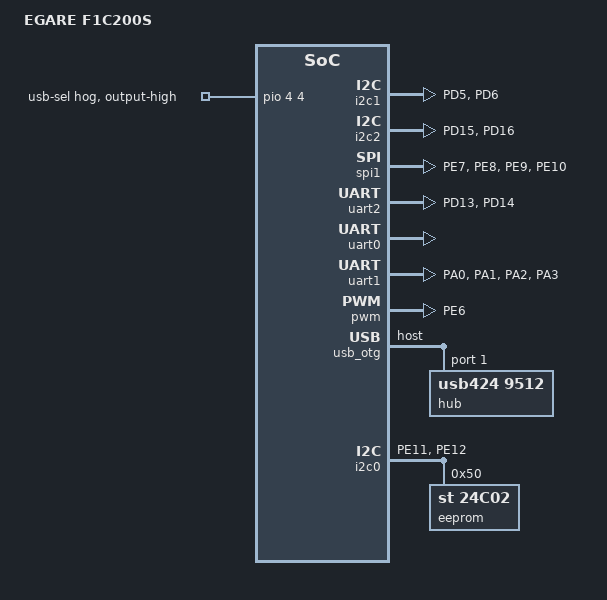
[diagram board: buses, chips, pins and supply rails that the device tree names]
// SPDX-License-Identifier: GPL-2.0-or-later
// Copyright (C) 2026 Corley S.r.l.
//
// EGARE F1C200S: la Lctech Pi F1C200s piu' le differenze della board.
// Tutto il resto (uart1, SPI NAND su spi0, mmc0, USB OTG) viene dal DTS
// Lctech incluso qui sotto: le due board devono restare confrontabili.
// La console invece e' su uart0 (PE0/PE1), non su uart1: vedi aliases.
//
// EEPROM ST M24C02-FMN su i2c0: SCK su PE11 (pin 38 del QFN88), SDA su
// PE12 (pin 37), E0-E2 a GND -> 0x50. Verificata il 2026-11-27 con un DTB
// di prova: i2cdump legge 256 byte, i2cset/i2cget scrivono e rileggono.

/dts-v1/;
#include "suniv-f1c200s-lctech-pi.dts"

/ {
	model = "EGARE F1C200S";

	/*
	 * La console e' la UART0 del connettore SODIMM (pin 205/207), come
	 * vuole la specifica del pinout: sulla SoM sono uart0 su PE0/PE1. Il
	 * DTS Lctech mette serial0 = &uart1 (PA2/PA3), che qui e' la UART1 del
	 * connettore (pin 180/182, la porta RS-485). Alias = numero del
	 * connettore: ttyS0 console, ttyS1 UART1. stdout-path "serial0" viene
	 * dal DTS Lctech e segue l'alias.
	 */
	aliases {
		serial0 = &uart0;
		serial1 = &uart1;
		serial2 = &uart2;
		/*
		 * Numeri di bus fissi. spi0 e' la SPI NAND, e i bootargs NAND la
		 * chiamano "mtdparts=spi0.0": senza alias, con spi1 attivo il numero
		 * dipenderebbe dall'ordine di probe. spi1 e' la SPI0 del connettore.
		 */
		spi0 = &spi0;
		spi1 = &spi1;
		i2c0 = &i2c0;
		i2c1 = &i2c1;
		i2c2 = &i2c2;
		/* ETH0 del connettore: il MAC viene dall'EEPROM (cella mac_eth0) */
		ethernet0 = &ethernet;
	};
};

/*
 * I2C1 del connettore (pin 170/172, per la specifica il touch del pannello):
 * i2c1 su PD5 (SCK) / PD6 (SDA). Pull-up 4k7 sulla SoM (R26, R17).
 */
&i2c1 {
	pinctrl-names = "default";
	pinctrl-0 = <&i2c1_pd_pins>;
	status = "okay";
};

/*
 * I2C2 del connettore (pin 174/176, per la specifica il sensore camera):
 * i2c2 su PD15 (SCK) / PD16 (SDA). Pull-up 4k7 sulla SoM (R27, R18).
 */
&i2c2 {
	pinctrl-names = "default";
	pinctrl-0 = <&i2c2_pd_pins>;
	status = "okay";
};

/*
 * SPI0 del connettore (pin 148-154) = spi1 del SoC, su PE9 (CLK), PE8
 * (MOSI), PE10 (MISO), PE7 (CS0). spi0 del SoC resta interno alla SoM per
 * la SPI NAND di boot, come vuole la specifica. In Linux e' il bus 1. Le
 * periferiche le dichiara la carrier che le monta: qui solo il bus.
 */
&spi1 {
	pinctrl-names = "default";
	pinctrl-0 = <&spi1_pe_pins>;
	status = "okay";
};

/*
 * UART2 del connettore (pin 190/192): solo TX/RX, come da specifica. Sulla
 * SoM e' uart2 su PD13 (TX) / PD14 (RX). Le alternative non vanno: PD15/
 * PD16 (RTS/CTS di uart2) sono I2C2, PE7-PE10 sono spi1 (SPI0 del
 * connettore).
 */
&uart2 {
	pinctrl-names = "default";
	pinctrl-0 = <&uart2_pd_pins>;
	status = "okay";
};

&uart0 {
	pinctrl-names = "default";
	pinctrl-0 = <&uart0_pe_pins>;
	status = "okay";
};

/*
 * UART1 del connettore (pin 180-186): TX, RX, RTS, CTS. Sulla SoM sono
 * PA2/PA3 piu' PA0 (RTS) e PA1 (CTS), tutti con la funzione uart1. Il DTS
 * Lctech mette solo PA2/PA3. Per la specifica RTS serve tipicamente a
 * pilotare il DE di un transceiver RS-485 sulla carrier: la modalita'
 * RS-485 non si accende qui ma da userspace (ioctl TIOCSRS485; 8250_dw la
 * emula via software se la UART non la ha in hardware) o nel DT di una
 * carrier che monta il transceiver.
 */
&uart1 {
	pinctrl-0 = <&uart1_pa_rtscts_pins>;
	uart-has-rtscts;
};

/*
 * PWM0 del connettore (pin 210) = canale 1 del PWM del SoC, su PE6 (schema
 * SoM: label PWM1). Il canale non si rinumera: il kernel non ha alias per
 * la PWM, e i canali sono fissi nell'hardware. Da Linux e' pwmchip0
 * canale 1, nel DT di una carrier <&pwm 1 periodo polarita'>. Il canale 0
 * non e' sul connettore e non e' muxato.
 */
&pwm {
	pinctrl-names = "default";
	pinctrl-0 = <&pwm1_pe_pins>;
	status = "okay";
};

&pio {
	/*
	 * Nomi delle linee (gpioinfo, gpioset -c gpiochip0 GPIO3=1). Indice =
	 * banco * 32 + pin, da PA0: i GPIO0..7 del connettore SODIMM (pin
	 * 223-241) e i segnali della SoM che sono GPIO puri. GPIO8..19 non
	 * sono popolati su questa SoM.
	 */
	gpio-line-names =
		"", "", "", "", "", "", "", "",	/* PA0-PA7 */
		"", "", "", "", "", "", "", "",	/* PA8-PA15 */
		"", "", "", "", "", "", "", "",	/* PA16-PA23 */
		"", "", "", "", "", "", "", "",	/* PA24-PA31 */
		"", "", "", "", "", "", "", "",	/* PB0-PB7 */
		"", "", "", "", "", "", "", "",	/* PB8-PB15 */
		"", "", "", "", "", "", "", "",	/* PB16-PB23 */
		"", "", "", "", "", "", "", "",	/* PB24-PB31 */
		"", "", "", "", "", "", "", "",	/* PC0-PC7 */
		"", "", "", "", "", "", "", "",	/* PC8-PC15 */
		"", "", "", "", "", "", "", "",	/* PC16-PC23 */
		"", "", "", "", "", "", "", "",	/* PC24-PC31 */
		"GPIO0", "GPIO1", "GPIO2", "GPIO3", "GPIO4", "", "", "",	/* PD0-PD7 */
		"", "", "", "", "", "", "", "",	/* PD8-PD15 */
		"", "GPIO5", "GPIO6", "GPIO7", "", "SD0_CD#", "", "",	/* PD16-PD23 */
		"", "", "", "", "", "", "", "",	/* PD24-PD31 */
		"", "", "USB0_VBUS", "USB0_ID", "USB_SEL";	/* PE0-PE4 */

	pwm1_pe_pins: pwm1-pe-pins {
		pins = "PE6";
		function = "pwm1";
	};

	uart1_pa_rtscts_pins: uart1-pa-rtscts-pins {
		pins = "PA0", "PA1", "PA2", "PA3";
		function = "uart1";
	};

	uart2_pd_pins: uart2-pd-pins {
		pins = "PD13", "PD14";
		function = "uart2";
	};

	i2c1_pd_pins: i2c1-pd-pins {
		pins = "PD5", "PD6";
		function = "i2c1";
	};

	i2c2_pd_pins: i2c2-pd-pins {
		pins = "PD15", "PD16";
		function = "i2c2";
	};

	spi1_pe_pins: spi1-pe-pins {
		pins = "PE7", "PE8", "PE9", "PE10";
		function = "spi1";
	};

	/* Il .dtsi definisce i2c0 solo su PD0/PD12. */
	i2c0_pe_pins: i2c0-pe-pins {
		pins = "PE11", "PE12";
		function = "i2c0";
	};

	/*
	 * USB_SEL (PE4) pilota i mux FSUSB42 U6/U7 e il gate di Q2.
	 * Alto: CPU -> upstream del LAN9512 (hub + Ethernet), connettore OTG
	 * sulla porta 2 dell'hub, USB0_ID a massa. Basso (default, pull-down
	 * sulla SoM): CPU diretta sul connettore OTG, come serve alla BROM
	 * per il FEL. Linux lo tiene alto: la USB della CPU e' solo host.
	 */
	usb-sel-hog {
		gpio-hog;
		gpios = <4 4 GPIO_ACTIVE_HIGH>;	/* PE4 */
		output-high;
		line-name = "usb-sel";
	};
};

/*
 * Il DTS Lctech la mette in peripheral; qui dietro c'e' l'hub LAN9512, sulla
 * porta 1 del root hub, con l'Ethernet sulla sua porta 1 (come sul Raspberry
 * Pi B). Il nodo serve a dare all'Ethernet il MAC dell'EEPROM: smsc95xx lo
 * legge da nvmem-cells (Linux scarta FF..FF, zero e multicast, ma non
 * controlla magic e CRC del record). Senza, MAC casuale a ogni avvio.
 */
&usb_otg {
	dr_mode = "host";
	#address-cells = <1>;
	#size-cells = <0>;

	hub@1 {
		compatible = "usb424,9512";
		reg = <1>;
		#address-cells = <1>;
		#size-cells = <0>;

		ethernet: ethernet@1 {
			compatible = "usb424,ec00";
			reg = <1>;
			nvmem-cells = <&mac_eth0>;
			nvmem-cell-names = "mac-address";
		};
	};
};

&i2c0 {
	pinctrl-names = "default";
	pinctrl-0 = <&i2c0_pe_pins>;
	status = "okay";

	eeprom@50 {
		compatible = "st,24c02", "atmel,24c02";
		reg = <0x50>;
		pagesize = <16>;

		/*
		 * Record di identificazione del modulo, schema v1.0
		 * (docs/EEPROM-ID.md). mac_eth0 la usa l'Ethernet del LAN9512;
		 * ETH1 non c'e' su questa board. Le altre celle sono per
		 * userspace. Niente read-only: la produzione scrive da Linux con
		 * som-id.
		 */
		nvmem-layout {
			compatible = "fixed-layout";
			#address-cells = <1>;
			#size-cells = <1>;

			som-id@0 { reg = <0x00 0x40>; };
			mac_eth0: mac-address@10 { reg = <0x10 0x06>; };
			mac-address@16 { reg = <0x16 0x06>; };
			serial-number@1c { reg = <0x1c 0x0c>; };
		};
	};
};
